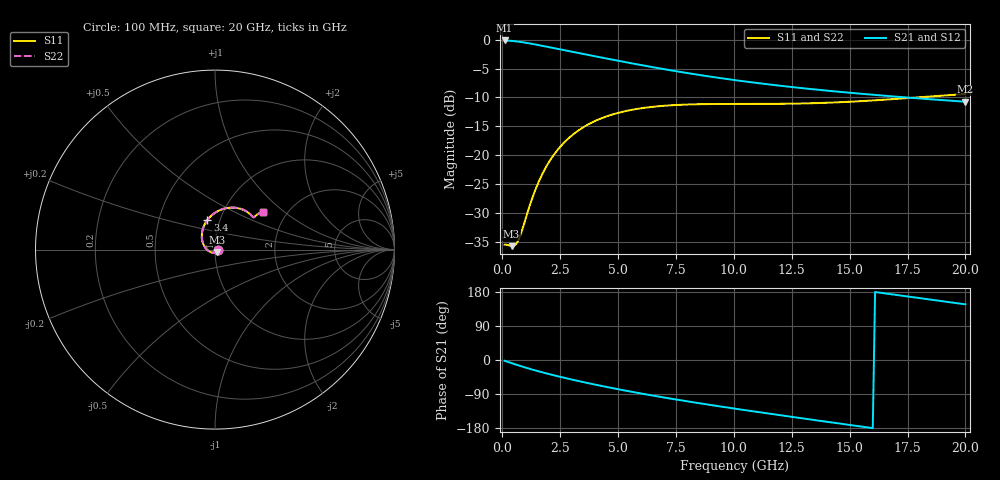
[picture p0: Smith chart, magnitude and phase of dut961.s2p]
! Touchstone file exported from HFSS 2024.1.0
!  File:  C:/UserFiles/LocalFiles/RDL_TSV_Batchsim/temp_RDL_TSV_961_1779968076.aedt
!  Generated:  07:52:02 PM May 28, 2026
!  Design:  RDL_TSV
!  Project:  temp_RDL_TSV_961_1779968076
!  Setup:  Setup1
!  Solution:  Sweep
! Variables:
!  dtsv = 13.82um
!  hbump = 3um
!  htsv = 97.01um
!  ldown = 442.63um
!  lrdl = 318.98um
!  p = 40
!  p1 = 53.14um
!  rhole = 10um
!  subl = 2603.81um
!  t = 450um
!  tdown = 4.78um
!  trdl = 2.38um
!  viad = 10um
!  wdown = 16.04um
!  wrdl = 18.14um
!  xbump = 18um
# GHz S MA R 50.000000
! Terminal data exported
! Port[1] = TM1_1_T1
! Port[2] = TM1_4_T1
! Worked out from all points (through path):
!   200 points, 100 MHz to 20 GHz, reference 50 ohm
!   highest |S21| = -0.15 dB at 100 MHz (marker M1); lowest = -10.7 dB at 20 GHz (marker M2)
!   group delay of S21, straight-line fit = 27.6 ps
!   lowest |S11| = -35.7 dB at 400 MHz (marker M3), VSWR 1.03, Z = 50.9 - j1.36 ohm
!   |S11| at or under -10 dB: start of sweep to 17.9 GHz
!   |S22| runs from -35.7 to -9.4 dB; largest |S21 - S12| = 2.6e-14
!   S11 on the Smith chart (normalised r, x): 100 MHz: 1.03, -0.01; 3.4 GHz: 0.87, +0.29; 20 GHz: 1.52, +0.72
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0.1  0.01691 -11.5  0.9824 -2.1  0.9824 -2.1  0.01691 -11.5
! Gamma 0 0 0 0
! Port Impedance 50 0 50 0
0.4  0.01641 -54.7  0.9741 -8.3  0.9741 -8.3  0.01641 -54.7
0.6  0.01713 -89.6  0.9648 -12.3  0.9648 -12.3  0.01714 -89.6
0.7  0.01858 -107.2  0.9592 -14.3  0.9592 -14.3  0.01859 -107.2
1.4  0.04866 175.7  0.9091 -27.1  0.9091 -27.1  0.04872 175.6
1.7  0.06708 158.6  0.8851 -32.1  0.8851 -32.1  0.06716 158.6
2  0.08641 145.2  0.8611 -36.9  0.8611 -36.9  0.08651 145.2
2.3  0.1058 134.2  0.8376 -41.5  0.8376 -41.5  0.1059 134.2
2.6  0.1246 124.7  0.8147 -45.9  0.8147 -45.9  0.1248 124.7
3.4  0.1698 104.7  0.7573 -57.0  0.7573 -57.0  0.17 104.7
3.5  0.1748 102.6  0.7504 -58.4  0.7504 -58.4  0.1751 102.6
4.2  0.2058 89.6  0.7045 -67.4  0.7045 -67.4  0.2061 89.7
4.9  0.2297 79.2  0.6619 -75.9  0.6619 -75.9  0.23 79.2
5.8  0.2514 68.5  0.612 -86.3  0.612 -86.3  0.2518 68.6
6.8  0.2661 59.4  0.5631 -97.1  0.5631 -97.1  0.2666 59.5
8.4  0.2762 49.5  0.4983 -113.1  0.4983 -113.1  0.2767 49.5
10.1  0.2779 43.4  0.4447 -128.9  0.4447 -128.9  0.2785 43.4
11.7  0.2782 40.6  0.4054 -143.1  0.4054 -143.1  0.2788 40.6
13.4  0.2818 39.8  0.3724 -157.8  0.3724 -157.8  0.2823 39.8
15  0.2902 39.8  0.3471 -171.4  0.3471 -171.4  0.2906 39.8
16.7  0.3041 39.8  0.3248 174.3  0.3248 174.3  0.3046 39.8
20  0.3386 38.1  0.2903 146.8  0.2903 146.8  0.3389 38.1
